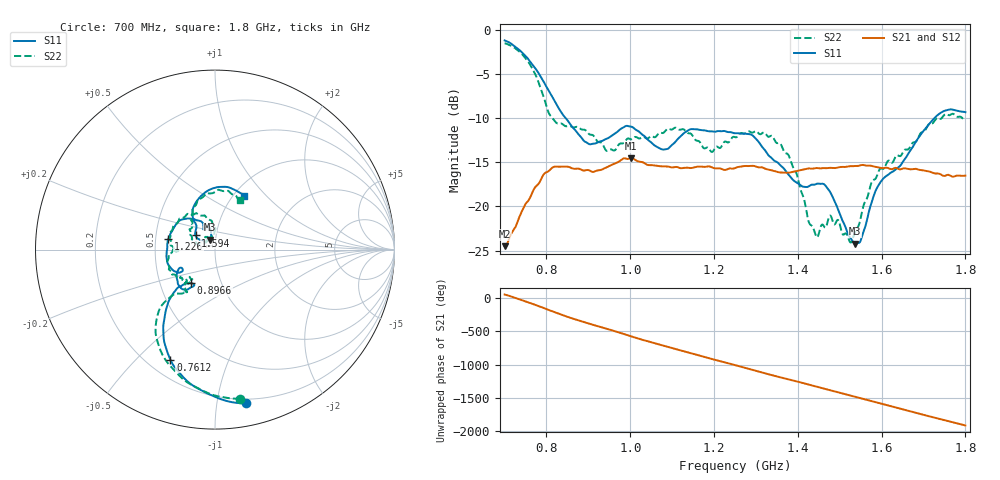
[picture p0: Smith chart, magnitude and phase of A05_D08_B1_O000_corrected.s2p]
! Created with skrf 1.9.0 (http://scikit-rf.org).
# Hz S RI R 50.0
!freq ReS11 ImS11 ReS21 ImS21 ReS12 ImS12 ReS22 ImS22
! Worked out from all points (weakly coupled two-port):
!   1601 points, 700 MHz to 1.8 GHz, reference 50 ohm
!   highest |S21| = -14.52 dB at 1.002 GHz (marker M1); lowest = -24.5 dB at 700.7 MHz (marker M2)
!   lowest |S11| = -24.2 dB at 1.537 GHz (marker M3), VSWR 1.13, Z = 47 + j5.13 ohm
!   |S11| at or under -10 dB: 846.2 MHz to 1.726 GHz (879.5 MHz wide, 68.4 % of centre)
!   |S22| runs from -24.1 to -1.5 dB; largest |S21 - S12| = 0.0037
!   S11 on the Smith chart (normalised r, x): 700 MHz: 0.17, -1.21; 761.2 MHz: 0.29, -0.63; 896.6 MHz: 0.72, -0.29; 1.226 GHz: 0.58, +0.07; 1.594 GHz: 0.80, +0.13; 1.8 GHz: 1.12, +0.76
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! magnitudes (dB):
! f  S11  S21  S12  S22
! 700 MHz  -1.2  -24.5  -24.3  -1.5
! 700.7 MHz  -1.2  -24.5  -24.2  -1.5
! 761.2 MHz  -3.6  -19.0  -18.9  -3.9
! 815.5 MHz  -7.7  -15.5  -15.6  -10.1
! 883.6 MHz  -12.2  -15.8  -15.7  -11.3
! 896.6 MHz  -12.8  -15.9  -16.0  -11.5
! 945.4 MHz  -12.3  -15.5  -15.5  -13.7
! 1.002 GHz  -10.9  -14.5  -14.6  -12.4
! 1.067 GHz  -13.3  -15.4  -15.4  -11.7
! 1.126 GHz  -11.8  -15.6  -15.7  -11.2
! 1.194 GHz  -11.5  -15.6  -15.5  -13.8
! 1.226 GHz  -11.5  -15.9  -15.8  -12.6
! 1.25 GHz  -11.7  -15.6  -15.6  -12.1
! 1.359 GHz  -15.3  -16.1  -16.1  -12.9
! 1.396 GHz  -17.2  -16.0  -16.0  -16.1
! 1.434 GHz  -17.5  -15.7  -15.7  -22.2
! 1.471 GHz  -17.9  -15.6  -15.6  -21.8
! 1.537 GHz  -24.2  -15.4  -15.4  -22.9
! 1.594 GHz  -17.5  -15.6  -15.6  -15.9
! 1.617 GHz  -16.3  -15.7  -15.6  -14.8
! 1.735 GHz  -9.6  -16.3  -16.3  -10.0
! 1.8 GHz  -9.3  -16.5  -16.5  -10.2
